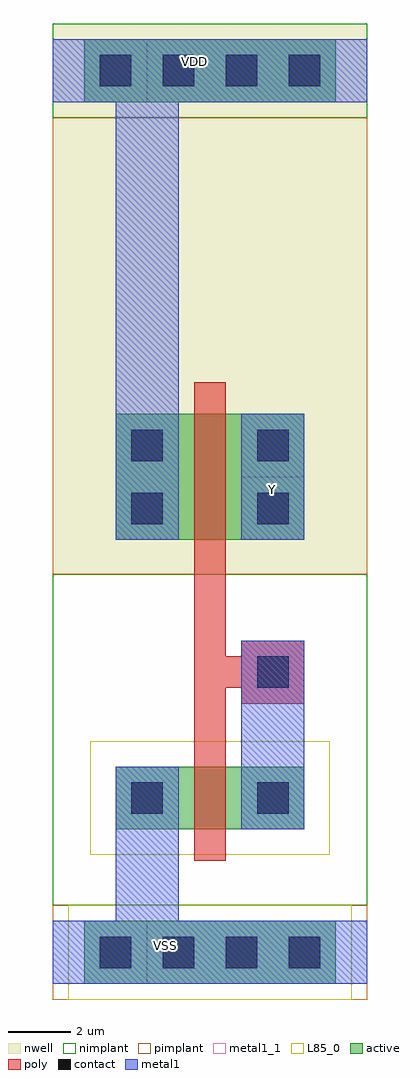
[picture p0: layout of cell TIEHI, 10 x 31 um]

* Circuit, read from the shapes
.subckt TIEHI VDD VSS Y
M1 n1 n1 VSS VSS nfet w=2u l=1u
M2 Y n1 VDD VDD pfet w=4u l=1u
.ends

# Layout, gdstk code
from math import pi, radians
import gdstk
lib = gdstk.Library(unit=1e-6, precision=5e-10)
def R(c, l, rs):  # rectangles x0, y0, x1, y1
    for r in rs: c.add(gdstk.rectangle(r[:2], r[2:], *l))
def A(c, l, x, y, w, h, nx, ny, dx, dy):  # array of equal rectangles
    R(c, l, [(x+i*dx, y+j*dy, x+i*dx+w, y+j*dy+h) for i in range(nx) for j in range(ny)])
active = (1, 0)
nwell = (2, 0)
poly = (3, 0)
nimplant = (4, 0)
pimplant = (5, 0)
contact = (6, 0)
metal1 = (7, 0)
metal1_1 = (7, 1)
L85_0 = (85, 0)

pmos4_cdns_4 = lib.new_cell('pmos4_CDNS_4')
R(pmos4_cdns_4, active, [(1,1,7,5)])
R(pmos4_cdns_4, nwell, [(0.2,0.2,7.8,5.8)])
R(pmos4_cdns_4, poly, [(3.5,0,4.5,6), (3.6,5.5,4.4,5.9)])
R(pmos4_cdns_4, pimplant, [(0,0,8,6)])
R(pmos4_cdns_4, contact, [(1.5,1.5,2.5,2.5), (5.5,1.5,6.5,2.5), (1.5,3.5,2.5,4.5), (5.5,3.5,6.5,4.5)])
R(pmos4_cdns_4, metal1, [(1,1,3,5), (5,1,7,5), (1.3,1.3,2.7,2.7), (5.3,1.3,6.7,2.7)])

nmos4_cdns_5 = lib.new_cell('nmos4_CDNS_5')
R(nmos4_cdns_5, active, [(1,1,7,3)])
R(nmos4_cdns_5, poly, [(3.5,0,4.5,4), (3.6,3.4,4.4,3.9)])
R(nmos4_cdns_5, nimplant, [(0,0,8,4)])
R(nmos4_cdns_5, contact, [(1.5,1.5,2.5,2.5), (5.5,1.5,6.5,2.5)])
R(nmos4_cdns_5, metal1, [(1,1,3,3), (5,1,7,3), (1.3,1.3,2.7,2.7), (5.3,1.3,6.7,2.7)])
R(nmos4_cdns_5, L85_0, [(0.2,0.2,7.8,3.8)])

m1_psub_cdns_1 = lib.new_cell('M1_PSUB_CDNS_1')
R(m1_psub_cdns_1, active, [(-4,-1,4,1)])
R(m1_psub_cdns_1, pimplant, [(-4.5,-1.5,4.5,1.5)])
A(m1_psub_cdns_1, contact, -3.5, -0.5, 1, 1, 4, 1, 2, 0)
R(m1_psub_cdns_1, metal1, [(-4,-1,4,1)])
R(m1_psub_cdns_1, L85_0, [(-4.5,-1.5,4.5,1.5)])

m1_nwell_cdns_2 = lib.new_cell('M1_NWELL_CDNS_2')
R(m1_nwell_cdns_2, active, [(-4,-1,4,1)])
R(m1_nwell_cdns_2, nwell, [(-4.5,-1.5,4.5,1.5)])
R(m1_nwell_cdns_2, nimplant, [(-4.5,-1.5,4.5,1.5)])
A(m1_nwell_cdns_2, contact, -3.5, -0.5, 1, 1, 4, 1, 2, 0)
R(m1_nwell_cdns_2, metal1, [(-4,-1,4,1)])

m1_po_cdns_3 = lib.new_cell('M1_PO_CDNS_3')
R(m1_po_cdns_3, poly, [(-1,-1,1,1)])
R(m1_po_cdns_3, contact, [(-0.5,-0.5,0.5,0.5)])
R(m1_po_cdns_3, metal1, [(-1,-1,1,1)])

tiehi = lib.new_cell('TIEHI')
R(tiehi, nwell, [(0,12,10,29.5)])
R(tiehi, nimplant, [(0,1.5,10,12), (0,26.5,10,29.5)])
R(tiehi, pimplant, [(0,-1.5,10,1.5), (0,12,10,26.5)])
R(tiehi, metal1, [(0,-1,10,1), (2,0,4,4.6), (6,3.9,8,9.9), (6,13.1,8,17.1), (2,16,4,28.5), (0,27,10,29)])
R(tiehi, metal1_1, [(1,-1,3,1), (6,13.1,8,15.1), (1,27,3,29)])
tiehi.add(gdstk.FlexPath([(5,8.9),(7,8.9)], 1, ends=(0.5, 0), simple_path=True, layer=3, datatype=0))  # poly
tiehi.add(gdstk.FlexPath([(5,12.1),(5,10)], 1, ends=(0, 0.5), simple_path=True, layer=3, datatype=0))  # poly
tiehi.add(gdstk.FlexPath([(5,10),(5,6.8)], 1, ends=(0.5, 0), simple_path=True, layer=3, datatype=0))  # poly
tiehi.add(gdstk.Reference(pmos4_cdns_4, (1,12.1)))
tiehi.add(gdstk.Reference(nmos4_cdns_5, (1,2.9)))
tiehi.add(gdstk.Reference(m1_psub_cdns_1, (5,0)))
tiehi.add(gdstk.Reference(m1_nwell_cdns_2, (5,28)))
tiehi.add(gdstk.Reference(m1_po_cdns_3, (7,8.9), rotation=pi, x_reflection=True))
tiehi.add(gdstk.Label('VSS', (3.6,0.2), layer=7, texttype=3))
tiehi.add(gdstk.Label('Y', (7,14.7), layer=7, texttype=3))
tiehi.add(gdstk.Label('VDD', (4.5,28.3), layer=7, texttype=3))

lib.write_gds('TIEHI.gds')
